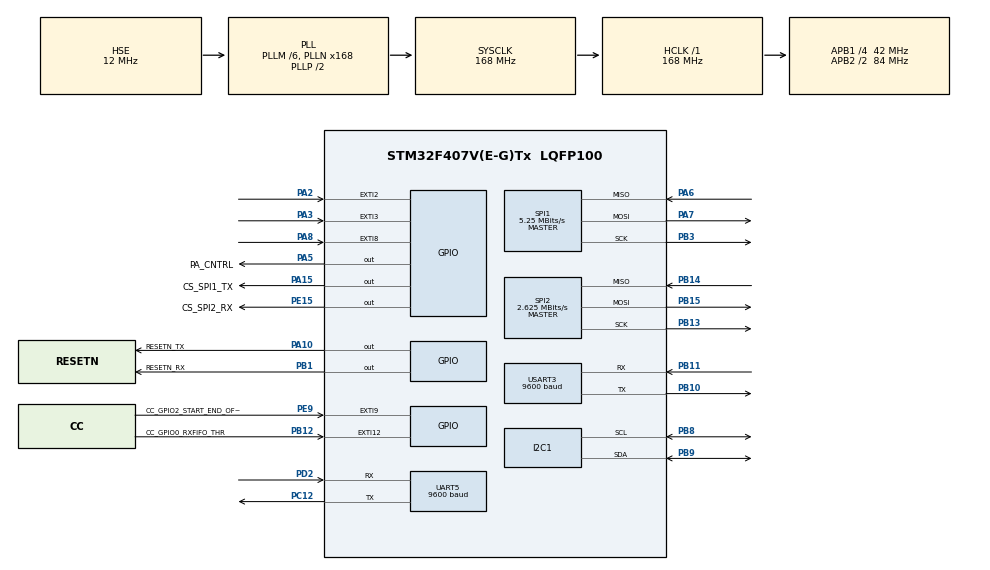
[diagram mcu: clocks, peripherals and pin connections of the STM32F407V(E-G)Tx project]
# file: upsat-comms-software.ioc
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ADC1.Channel-4\#ChannelRegularConversion=ADC_CHANNEL_TEMPSENSOR
ADC1.Channel-5\#ChannelRegularConversion=ADC_CHANNEL_TEMPSENSOR
ADC1.Channel-6\#ChannelRegularConversion=ADC_CHANNEL_TEMPSENSOR
ADC1.Channel-7\#ChannelRegularConversion=ADC_CHANNEL_TEMPSENSOR
ADC1.Channel-8\#ChannelRegularConversion=ADC_CHANNEL_TEMPSENSOR
ADC1.Channel-9\#ChannelRegularConversion=ADC_CHANNEL_TEMPSENSOR
ADC1.ClockPrescaler=ADC_CLOCK_SYNC_PCLK_DIV8
ADC1.ContinuousConvMode=ENABLE
ADC1.DMAContinuousRequests=ENABLE
ADC1.DataAlign=ADC_DATAALIGN_RIGHT
ADC1.DiscontinuousConvMode=DISABLE
ADC1.EOCSelection=ADC_EOC_SEQ_CONV
ADC1.EnableAnalogWatchDog=false
ADC1.ExternalTrigConvEdge=ADC_EXTERNALTRIGCONVEDGE_NONE
ADC1.InjNumberOfConversion=0
ADC1.NbrOfConversion=6
ADC1.NbrOfConversionFlag=1
ADC1.Rank-4\#ChannelRegularConversion=1
ADC1.Rank-5\#ChannelRegularConversion=2
ADC1.Rank-6\#ChannelRegularConversion=3
ADC1.Rank-7\#ChannelRegularConversion=4
ADC1.Rank-8\#ChannelRegularConversion=5
ADC1.Rank-9\#ChannelRegularConversion=6
ADC1.Resolution=ADC_RESOLUTION_12B
ADC1.SamplingTime-4\#ChannelRegularConversion=ADC_SAMPLETIME_480CYCLES
ADC1.SamplingTime-5\#ChannelRegularConversion=ADC_SAMPLETIME_480CYCLES
ADC1.SamplingTime-6\#ChannelRegularConversion=ADC_SAMPLETIME_480CYCLES
ADC1.SamplingTime-7\#ChannelRegularConversion=ADC_SAMPLETIME_480CYCLES
ADC1.SamplingTime-8\#ChannelRegularConversion=ADC_SAMPLETIME_480CYCLES
ADC1.SamplingTime-9\#ChannelRegularConversion=ADC_SAMPLETIME_480CYCLES
ADC1.ScanConvMode=ENABLE
ADC1.master=1
Dma.ADC1.3.Channel=DMA_CHANNEL_0
Dma.ADC1.3.Direction=DMA_PERIPH_TO_MEMORY
Dma.ADC1.3.FIFOMode=DMA_FIFOMODE_ENABLE
Dma.ADC1.3.FIFOThreshold=DMA_FIFO_THRESHOLD_FULL
Dma.ADC1.3.Instance=DMA2_Stream0
Dma.ADC1.3.MemBurst=DMA_MBURST_INC4
Dma.ADC1.3.MemDataAlignment=DMA_MDATAALIGN_WORD
Dma.ADC1.3.MemInc=DMA_MINC_ENABLE
Dma.ADC1.3.Mode=DMA_NORMAL
Dma.ADC1.3.PeriphBurst=DMA_PBURST_SINGLE
Dma.ADC1.3.PeriphDataAlignment=DMA_PDATAALIGN_WORD
Dma.ADC1.3.PeriphInc=DMA_PINC_DISABLE
Dma.ADC1.3.Priority=DMA_PRIORITY_LOW
Dma.Request0=UART5_TX
Dma.Request1=SPI2_RX
Dma.Request2=SPI1_TX
Dma.Request3=ADC1
Dma.SPI1_TX.2.Channel=DMA_CHANNEL_3
Dma.SPI1_TX.2.Direction=DMA_MEMORY_TO_PERIPH
Dma.SPI1_TX.2.FIFOMode=DMA_FIFOMODE_DISABLE
Dma.SPI1_TX.2.Instance=DMA2_Stream3
Dma.SPI1_TX.2.MemDataAlignment=DMA_MDATAALIGN_BYTE
Dma.SPI1_TX.2.MemInc=DMA_MINC_ENABLE
Dma.SPI1_TX.2.Mode=DMA_NORMAL
Dma.SPI1_TX.2.PeriphDataAlignment=DMA_PDATAALIGN_BYTE
Dma.SPI1_TX.2.PeriphInc=DMA_PINC_DISABLE
Dma.SPI1_TX.2.Priority=DMA_PRIORITY_LOW
Dma.SPI2_RX.1.Channel=DMA_CHANNEL_0
Dma.SPI2_RX.1.Direction=DMA_PERIPH_TO_MEMORY
Dma.SPI2_RX.1.FIFOMode=DMA_FIFOMODE_DISABLE
Dma.SPI2_RX.1.Instance=DMA1_Stream3
Dma.SPI2_RX.1.MemDataAlignment=DMA_MDATAALIGN_BYTE
Dma.SPI2_RX.1.MemInc=DMA_MINC_ENABLE
Dma.SPI2_RX.1.Mode=DMA_NORMAL
Dma.SPI2_RX.1.PeriphDataAlignment=DMA_PDATAALIGN_BYTE
Dma.SPI2_RX.1.PeriphInc=DMA_PINC_DISABLE
Dma.SPI2_RX.1.Priority=DMA_PRIORITY_LOW
Dma.UART5_TX.0.Channel=DMA_CHANNEL_4
Dma.UART5_TX.0.Direction=DMA_MEMORY_TO_PERIPH
Dma.UART5_TX.0.FIFOMode=DMA_FIFOMODE_DISABLE
Dma.UART5_TX.0.Instance=DMA1_Stream7
Dma.UART5_TX.0.MemDataAlignment=DMA_MDATAALIGN_BYTE
Dma.UART5_TX.0.MemInc=DMA_MINC_ENABLE
Dma.UART5_TX.0.Mode=DMA_NORMAL
Dma.UART5_TX.0.PeriphDataAlignment=DMA_PDATAALIGN_BYTE
Dma.UART5_TX.0.PeriphInc=DMA_PINC_DISABLE
Dma.UART5_TX.0.Priority=DMA_PRIORITY_LOW
IWDG.Prescaler=IWDG_PRESCALER_256
Mcu.Family=STM32F4
Mcu.Name=STM32F407V(E-G)Tx
Mcu.Package=LQFP100
NVIC.ADC_IRQn=true\:0\:0\:false\:false\:true
NVIC.DMA1_Stream3_IRQn=true\:0\:0\:false\:false\:true
NVIC.DMA1_Stream7_IRQn=true\:0\:0\:false\:false\:true
NVIC.DMA2_Stream0_IRQn=true\:0\:0\:false\:false\:true
NVIC.DMA2_Stream3_IRQn=true\:0\:0\:false\:false\:true
NVIC.EXTI15_10_IRQn=true\:0\:0\:false\:false\:true
NVIC.EXTI2_IRQn=true\:0\:0\:false\:false\:true
NVIC.EXTI3_IRQn=true\:0\:0\:false\:false\:true
NVIC.EXTI9_5_IRQn=true\:0\:0\:false\:false\:true
NVIC.PriorityGroup=NVIC_PRIORITYGROUP_4
NVIC.UART5_IRQn=true\:0\:0\:false\:false\:true
PA10.GPIO_Label=RESETN_TX
PA10.PinState=GPIO_PIN_SET
PA10.Signal=GPIO_Output
PA15.GPIO_Label=CS_SPI1_TX
PA15.PinState=GPIO_PIN_SET
PA15.Signal=GPIO_Output
PA2.GPIO_ModeDefaultEXTI=GPIO_MODE_IT_FALLING
PA2.Signal=GPXTI2
PA3.GPIO_ModeDefaultEXTI=GPIO_MODE_IT_FALLING
PA3.Signal=GPXTI3
PA5.GPIO_Label=PA_CNTRL
PA5.Signal=GPIO_Output
PA6.GPIO_Speed=GPIO_SPEED_FREQ_LOW
PA6.Mode=Full_Duplex_Master
PA6.Signal=SPI1_MISO
PA7.GPIO_Speed=GPIO_SPEED_FREQ_LOW
PA7.Mode=Full_Duplex_Master
PA7.Signal=SPI1_MOSI
PA8.Signal=GPXTI8
PB1.GPIO_Label=RESETN_RX
PB1.PinState=GPIO_PIN_SET
PB1.Signal=GPIO_Output
PB10.Mode=Asynchronous
PB10.Signal=USART3_TX
PB11.Mode=Asynchronous
PB11.Signal=USART3_RX
PB12.GPIO_Label=CC_GPIO0_RXFIFO_THR
PB12.GPIO_ModeDefaultEXTI=GPIO_MODE_IT_RISING
PB12.Signal=GPXTI12
PB13.GPIO_Speed=GPIO_SPEED_FREQ_LOW
PB13.Mode=Full_Duplex_Master
PB13.Signal=SPI2_SCK
PB14.GPIO_Speed=GPIO_SPEED_FREQ_LOW
PB14.Mode=Full_Duplex_Master
PB14.Signal=SPI2_MISO
PB15.GPIO_Speed=GPIO_SPEED_FREQ_LOW
PB15.Mode=Full_Duplex_Master
PB15.Signal=SPI2_MOSI
PB3.GPIO_Speed=GPIO_SPEED_FREQ_LOW
PB3.Mode=Full_Duplex_Master
PB3.Signal=SPI1_SCK
PB8.Mode=I2C
PB8.Signal=I2C1_SCL
PB9.Mode=I2C
PB9.Signal=I2C1_SDA
PC12.Mode=Asynchronous
PC12.Signal=UART5_TX
PD2.Mode=Asynchronous
PD2.Signal=UART5_RX
PE15.GPIO_Label=CS_SPI2_RX
PE15.PinState=GPIO_PIN_SET
PE15.Signal=GPIO_Output
PE9.GPIO_Label=CC_GPIO2_START_END_OF_PACKET
PE9.GPIO_ModeDefaultEXTI=GPIO_MODE_IT_RISING_FALLING
PE9.Signal=GPXTI9
PH0-OSC_IN.Mode=HSE-External-Oscillator
PH0-OSC_IN.Signal=RCC_OSC_IN
PH1-OSC_OUT.Mode=HSE-External-Oscillator
PH1-OSC_OUT.Signal=RCC_OSC_OUT
ProjectManager.HeapSize=0x200
ProjectManager.StackSize=0x400
ProjectManager.TargetToolchain=SW4STM32
RCC.48MHZClocksFreq_Value=84000000
RCC.AHBFreq_Value=168000000
RCC.APB1CLKDivider=RCC_HCLK_DIV4
RCC.APB1Freq_Value=42000000
RCC.APB1TimFreq_Value=84000000
RCC.APB2CLKDivider=RCC_HCLK_DIV2
RCC.APB2Freq_Value=84000000
RCC.APB2TimFreq_Value=168000000
RCC.CortexFreq_Value=168000000
RCC.HCLKFreq_Value=168000000
RCC.HSE_VALUE=12000000
RCC.HSI_VALUE=16000000
RCC.LSE_VALUE=32768
RCC.PLLM=6
RCC.PLLN=168
RCC.PLLSourceVirtual=RCC_PLLSOURCE_HSE
RCC.SYSCLKFreq_VALUE=168000000
RCC.SYSCLKSource=RCC_SYSCLKSOURCE_PLLCLK
RCC.VCOOutputFreq_Value=336000000
SPI1.BaudRatePrescaler=SPI_BAUDRATEPRESCALER_16
SPI1.CalculateBaudRate=5.25 MBits/s
SPI1.Mode=SPI_MODE_MASTER
SPI2.BaudRatePrescaler=SPI_BAUDRATEPRESCALER_16
SPI2.CalculateBaudRate=2.625 MBits/s
SPI2.Mode=SPI_MODE_MASTER
UART5.BaudRate=9600
USART3.BaudRate=9600
VP_ADC1_TempSens_Input.Mode=IN-TempSens
VP_ADC1_Vref_Input.Mode=IN-Vrefint
VP_IWDG_VS_IWDG.Mode=IWDG_Activate
board=upsat-comms-software

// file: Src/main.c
/**
  ******************************************************************************
  * File Name          : main.c
  * Description        : Main program body
  ******************************************************************************
  *
  * COPYRIGHT(c) 2016 STMicroelectronics
  *
  * Redistribution and use in source and binary forms, with or without modification,
  * are permitted provided that the following conditions are met:
  *   1. Redistributions of source code must retain the above copyright notice,
  *      this list of conditions and the following disclaimer.
  *   2. Redistributions in binary form must reproduce the above copyright notice,
  *      this list of conditions and the following disclaimer in the documentation
  *      and/or other materials provided with the distribution.
  *   3. Neither the name of STMicroelectronics nor the names of its contributors
  *      may be used to endorse or promote products derived from this software
  *      without specific prior written permission.
  *
  * THIS SOFTWARE IS PROVIDED BY THE COPYRIGHT HOLDERS AND CONTRIBUTORS "AS IS"
  * AND ANY EXPRESS OR IMPLIED WARRANTIES, INCLUDING, BUT NOT LIMITED TO, THE
  * IMPLIED WARRANTIES OF MERCHANTABILITY AND FITNESS FOR A PARTICULAR PURPOSE ARE
  * DISCLAIMED. IN NO EVENT SHALL THE COPYRIGHT HOLDER OR CONTRIBUTORS BE LIABLE
  * FOR ANY DIRECT, INDIRECT, INCIDENTAL, SPECIAL, EXEMPLARY, OR CONSEQUENTIAL
  * DAMAGES (INCLUDING, BUT NOT LIMITED TO, PROCUREMENT OF SUBSTITUTE GOODS OR
  * SERVICES; LOSS OF USE, DATA, OR PROFITS; OR BUSINESS INTERRUPTION) HOWEVER
  * CAUSED AND ON ANY THEORY OF LIABILITY, WHETHER IN CONTRACT, STRICT LIABILITY,
  * OR TORT (INCLUDING NEGLIGENCE OR OTHERWISE) ARISING IN ANY WAY OUT OF THE USE
  * OF THIS SOFTWARE, EVEN IF ADVISED OF THE POSSIBILITY OF SUCH DAMAGE.
  *
  ******************************************************************************
  */
#include "stm32f4xx_hal.h"

/* USER CODE BEGIN Includes */
#include "cc_commands.h"
#include "cc_definitions.h"
#include "ax25.h"
#include "log.h"
#include "cc112x_spi.h"
#include "cc_tx_init.h"
#include "cc_rx_init.h"
#include <string.h>
#include "comms.h"
#include "pkt_pool.h"
#include "service_utilities.h"
#include "comms_manager.h"
#include "sensors.h"
#include "stats.h"
#include "sysview.h"
#include "sha256.h"
#include "persistent_mem.h"
/* USER CODE END Includes */

ADC_HandleTypeDef hadc1;
DMA_HandleTypeDef hdma_adc1;

I2C_HandleTypeDef hi2c1;

IWDG_HandleTypeDef hiwdg;

SPI_HandleTypeDef hspi1;
SPI_HandleTypeDef hspi2;
DMA_HandleTypeDef hdma_spi1_tx;
DMA_HandleTypeDef hdma_spi2_rx;

UART_HandleTypeDef huart5;
UART_HandleTypeDef huart3;
DMA_HandleTypeDef hdma_uart5_tx;

/* USER CODE BEGIN PV */
/* Private variables ---------------------------------------------------------*/
uint8_t res;
uint16_t size = 0;

volatile uint8_t tx_thr_flag = 0;
volatile uint8_t tx_fin_flag = 0;
volatile uint8_t rx_sync_flag = 0;
volatile uint8_t rx_finished_flag = 0;
volatile uint8_t rx_thr_flag = 0;

uint8_t uart_temp[512];
uint8_t debug_temp[256];

extern comms_rf_stat_t comms_stats;
/* USER CODE END PV */

void SystemClock_Config(void);
static void MX_GPIO_Init(void);
static void MX_DMA_Init(void);
static void MX_I2C1_Init(void);
static void MX_SPI1_Init(void);
static void MX_SPI2_Init(void);
static void MX_UART5_Init(void);
static void MX_USART3_UART_Init(void);
static void MX_IWDG_Init(void);
static void MX_ADC1_Init(void);

/* USER CODE BEGIN PFP */
/* Private function prototypes -----------------------------------------------*/

/* USER CODE END PFP */

int main(void)
{

  /* USER CODE BEGIN 1 */
  uint8_t rst_src;
  uint32_t tick;
  uint32_t heartbeat_tick;
  comms_tx_job_list_t tx_jobs;
  uint32_t now;
  uint32_t tx_job_cnt = 0;
  uint32_t tx_job_desc = __COMMS_DEFAULT_HEADLESS_TX_PATTERN;
  /* USER CODE END 1 */

  /* MCU Configuration----------------------------------------------------------*/

  /* Reset of all peripherals, Initializes the Flash interface and the Systick. */
  HAL_Init();

  /* Wait for the EPS to settle */
  HAL_Delay(1000);

  /* Configure the system clock */
  SystemClock_Config();

  /* Initialize all configured peripherals */
  MX_GPIO_Init();
  MX_DMA_Init();
  MX_I2C1_Init();
  MX_SPI1_Init();
  MX_SPI2_Init();
  MX_UART5_Init();
  MX_USART3_UART_Init();
  MX_IWDG_Init();
  MX_ADC1_Init();

  /* USER CODE BEGIN 2 */

  /* TX Pins RESETN_TX, PA_CTRL_PIN, CSN1 */
  HAL_GPIO_WritePin (GPIOA, RESETN_TX_Pin, GPIO_PIN_SET);
  HAL_GPIO_WritePin (PA_CNTRL_GPIO_Port, PA_CNTRL_Pin, GPIO_PIN_SET);
  HAL_GPIO_WritePin (GPIOA, GPIO_PIN_15, GPIO_PIN_SET);

  /* RX Pins RESETN_RX, CSN2 */
  HAL_GPIO_WritePin (GPIOB, GPIO_PIN_1, GPIO_PIN_SET);
  HAL_GPIO_WritePin (GPIOE, GPIO_PIN_15, GPIO_PIN_SET);

  /*Start the watchdog ASAP */
  HAL_IWDG_Start(&hiwdg);

  /*Must use this in order the compiler occupies flash sector 3*/
  comms_persistent_mem_init();

  /* Initialize the systemview */
  SEGGER_SYSVIEW_Conf();
  sysview_init();

  /*Make all the proper initializations for the COMMS */
  comms_init();

  /* UART initializations */
  HAL_UART_Receive_IT (&huart5, comms_data.obc_uart.uart_buf, UART_BUF_SIZE);

  /* Get the reason of re-booting */
  HAL_reset_source(&rst_src);
  comms_rf_stats_set_reset_src(&comms_stats, rst_src);
  /* USER CODE END 2 */

  /* Infinite loop */
  /* USER CODE BEGIN WHILE */

  tick = HAL_GetTick();
  heartbeat_tick = tick;
  memset((void *)&tx_jobs, 0, sizeof(comms_tx_job_list_t));
  while (1) {
    now = HAL_GetTick();
    /* Sent a heartbeat message to the EPS*/
    if(now < heartbeat_tick
	|| now - heartbeat_tick > __HEARTBEAT_EPS_INTERVAL_MS){
      heartbeat_tick = now;
      SYSVIEW_PRINT("HEARTBEAT to EPS");
      sys_refresh();
    }

    if(now - tick > __TX_INTERVAL_MS){
      /*
       * Check which type of TX job should be performed. At this time any
       * previous unfinished TX jobs are dropped.
       */
      memset((void *)&tx_jobs, 0, sizeof(comms_tx_job_list_t));
      tick = now;

      /* Zero ID always refer to CW beacon */
      if(tx_job_cnt == 0)
      {
	/* Should be reset from comms_routine_dispatcher() when served */
    	  tx_jobs.tx_cw = 1;
      }
      else
      {
	/*An active bit means ex_WOD whereas an inactive a WOD */
    	 if((tx_job_desc >> tx_job_cnt) & 0x1)
    	  {
    		  tx_jobs.tx_ext_wod = 1;
    	  }
    	 else
    	 {
    		 tx_jobs.tx_wod = 1;
    	 }
      }

      tx_job_cnt++;
      tx_job_cnt = tx_job_cnt % 8;
      /*
       * Now it's a good time to re-read the flash, in case the
       * headless transmission scheme altered
       */
      tx_job_desc = comms_read_persistent_word(__COMMS_HEADLESS_TX_FLASH_OFFSET);

      /*
       * In case the ex_WOD number is greater than the WOD, shit happened.
       * So fall back to the default
       */
      if(bit_count(tx_job_desc) > 4){
    	  tx_job_desc = __COMMS_DEFAULT_HEADLESS_TX_PATTERN;
      }
    }

    comms_routine_dispatcher(&tx_jobs);

  /* USER CODE END WHILE */

  }

}

/** System Clock Configuration
*/
void SystemClock_Config(void)
{

  RCC_OscInitTypeDef RCC_OscInitStruct;
  RCC_ClkInitTypeDef RCC_ClkInitStruct;

  __HAL_RCC_PWR_CLK_ENABLE();

  __HAL_PWR_VOLTAGESCALING_CONFIG(PWR_REGULATOR_VOLTAGE_SCALE1);

  RCC_OscInitStruct.OscillatorType = RCC_OSCILLATORTYPE_LSI|RCC_OSCILLATORTYPE_HSE;
  RCC_OscInitStruct.HSEState = RCC_HSE_ON;
  RCC_OscInitStruct.LSIState = RCC_LSI_ON;
  RCC_OscInitStruct.PLL.PLLState = RCC_PLL_ON;
  RCC_OscInitStruct.PLL.PLLSource = RCC_PLLSOURCE_HSE;
  RCC_OscInitStruct.PLL.PLLM = 6;
  RCC_OscInitStruct.PLL.PLLN = 168;
  RCC_OscInitStruct.PLL.PLLP = RCC_PLLP_DIV2;
  RCC_OscInitStruct.PLL.PLLQ = 4;
  HAL_RCC_OscConfig(&RCC_OscInitStruct);

  RCC_ClkInitStruct.ClockType = RCC_CLOCKTYPE_HCLK|RCC_CLOCKTYPE_SYSCLK
                              |RCC_CLOCKTYPE_PCLK1|RCC_CLOCKTYPE_PCLK2;
  RCC_ClkInitStruct.SYSCLKSource = RCC_SYSCLKSOURCE_PLLCLK;
  RCC_ClkInitStruct.AHBCLKDivider = RCC_SYSCLK_DIV1;
  RCC_ClkInitStruct.APB1CLKDivider = RCC_HCLK_DIV4;
  RCC_ClkInitStruct.APB2CLKDivider = RCC_HCLK_DIV2;
  HAL_RCC_ClockConfig(&RCC_ClkInitStruct, FLASH_LATENCY_5);

  HAL_SYSTICK_Config(HAL_RCC_GetHCLKFreq()/1000);

  HAL_SYSTICK_CLKSourceConfig(SYSTICK_CLKSOURCE_HCLK);

  /* SysTick_IRQn interrupt configuration */
  HAL_NVIC_SetPriority(SysTick_IRQn, 0, 0);
}

/* ADC1 init function */
void MX_ADC1_Init(void)
{

  ADC_ChannelConfTypeDef sConfig;

    /**Configure the global features of the ADC (Clock, Resolution, Data Alignment and number of conversion)
    */
  hadc1.Instance = ADC1;
  hadc1.Init.ClockPrescaler = ADC_CLOCK_SYNC_PCLK_DIV8;
  hadc1.Init.Resolution = ADC_RESOLUTION_12B;
  hadc1.Init.ScanConvMode = ENABLE;
  hadc1.Init.ContinuousConvMode = ENABLE;
  hadc1.Init.DiscontinuousConvMode = DISABLE;
  hadc1.Init.ExternalTrigConvEdge = ADC_EXTERNALTRIGCONVEDGE_NONE;
  hadc1.Init.DataAlign = ADC_DATAALIGN_RIGHT;
  hadc1.Init.NbrOfConversion = 6;
  hadc1.Init.DMAContinuousRequests = ENABLE;
  hadc1.Init.EOCSelection = ADC_EOC_SEQ_CONV;
  HAL_ADC_Init(&hadc1);

    /**Configure for the selected ADC regular channel its corresponding rank in the sequencer and its sample time.
    */
  sConfig.Channel = ADC_CHANNEL_TEMPSENSOR;
  sConfig.Rank = 1;
  sConfig.SamplingTime = ADC_SAMPLETIME_480CYCLES;
  HAL_ADC_ConfigChannel(&hadc1, &sConfig);

    /**Configure for the selected ADC regular channel its corresponding rank in the sequencer and its sample time.
    */
  sConfig.Rank = 2;
  HAL_ADC_ConfigChannel(&hadc1, &sConfig);

    /**Configure for the selected ADC regular channel its corresponding rank in the sequencer and its sample time.
    */
  sConfig.Rank = 3;
  HAL_ADC_ConfigChannel(&hadc1, &sConfig);

    /**Configure for the selected ADC regular channel its corresponding rank in the sequencer and its sample time.
    */
  sConfig.Rank = 4;
  HAL_ADC_ConfigChannel(&hadc1, &sConfig);

    /**Configure for the selected ADC regular channel its corresponding rank in the sequencer and its sample time.
    */
  sConfig.Rank = 5;
  HAL_ADC_ConfigChannel(&hadc1, &sConfig);

    /**Configure for the selected ADC regular channel its corresponding rank in the sequencer and its sample time.
    */
  sConfig.Rank = 6;
  HAL_ADC_ConfigChannel(&hadc1, &sConfig);

}

/* I2C1 init function */
void MX_I2C1_Init(void)
{

  hi2c1.Instance = I2C1;
  hi2c1.Init.ClockSpeed = 100000;
  hi2c1.Init.DutyCycle = I2C_DUTYCYCLE_2;
  hi2c1.Init.OwnAddress1 = 0;
  hi2c1.Init.AddressingMode = I2C_ADDRESSINGMODE_7BIT;
  hi2c1.Init.DualAddressMode = I2C_DUALADDRESS_DISABLE;
  hi2c1.Init.OwnAddress2 = 0;
  hi2c1.Init.GeneralCallMode = I2C_GENERALCALL_DISABLE;
  hi2c1.Init.NoStretchMode = I2C_NOSTRETCH_DISABLE;
  HAL_I2C_Init(&hi2c1);

}

/* IWDG init function */
void MX_IWDG_Init(void)
{

  hiwdg.Instance = IWDG;
  hiwdg.Init.Prescaler = IWDG_PRESCALER_256;
  hiwdg.Init.Reload = 4095;
  HAL_IWDG_Init(&hiwdg);

}

/* SPI1 init function */
void MX_SPI1_Init(void)
{

  hspi1.Instance = SPI1;
  hspi1.Init.Mode = SPI_MODE_MASTER;
  hspi1.Init.Direction = SPI_DIRECTION_2LINES;
  hspi1.Init.DataSize = SPI_DATASIZE_8BIT;
  hspi1.Init.CLKPolarity = SPI_POLARITY_LOW;
  hspi1.Init.CLKPhase = SPI_PHASE_1EDGE;
  hspi1.Init.NSS = SPI_NSS_SOFT;
  hspi1.Init.BaudRatePrescaler = SPI_BAUDRATEPRESCALER_16;
  hspi1.Init.FirstBit = SPI_FIRSTBIT_MSB;
  hspi1.Init.TIMode = SPI_TIMODE_DISABLE;
  hspi1.Init.CRCCalculation = SPI_CRCCALCULATION_DISABLE;
  hspi1.Init.CRCPolynomial = 10;
  HAL_SPI_Init(&hspi1);

}

/* SPI2 init function */
void MX_SPI2_Init(void)
{

  hspi2.Instance = SPI2;
  hspi2.Init.Mode = SPI_MODE_MASTER;
  hspi2.Init.Direction = SPI_DIRECTION_2LINES;
  hspi2.Init.DataSize = SPI_DATASIZE_8BIT;
  hspi2.Init.CLKPolarity = SPI_POLARITY_LOW;
  hspi2.Init.CLKPhase = SPI_PHASE_1EDGE;
  hspi2.Init.NSS = SPI_NSS_SOFT;
  hspi2.Init.BaudRatePrescaler = SPI_BAUDRATEPRESCALER_16;
  hspi2.Init.FirstBit = SPI_FIRSTBIT_MSB;
  hspi2.Init.TIMode = SPI_TIMODE_DISABLE;
  hspi2.Init.CRCCalculation = SPI_CRCCALCULATION_DISABLE;
  hspi2.Init.CRCPolynomial = 10;
  HAL_SPI_Init(&hspi2);

}

/* UART5 init function */
void MX_UART5_Init(void)
{

  huart5.Instance = UART5;
  huart5.Init.BaudRate = 9600;
  huart5.Init.WordLength = UART_WORDLENGTH_8B;
  huart5.Init.StopBits = UART_STOPBITS_1;
  huart5.Init.Parity = UART_PARITY_NONE;
  huart5.Init.Mode = UART_MODE_TX_RX;
  huart5.Init.HwFlowCtl = UART_HWCONTROL_NONE;
  huart5.Init.OverSampling = UART_OVERSAMPLING_16;
  HAL_UART_Init(&huart5);

}

/* USART3 init function */
void MX_USART3_UART_Init(void)
{

  huart3.Instance = USART3;
  huart3.Init.BaudRate = 9600;
  huart3.Init.WordLength = UART_WORDLENGTH_8B;
  huart3.Init.StopBits = UART_STOPBITS_1;
  huart3.Init.Parity = UART_PARITY_NONE;
  huart3.Init.Mode = UART_MODE_TX_RX;
  huart3.Init.HwFlowCtl = UART_HWCONTROL_NONE;
  huart3.Init.OverSampling = UART_OVERSAMPLING_16;
  HAL_UART_Init(&huart3);

}

void MX_DMA_Init(void)
{
  /* DMA controller clock enable */
  __HAL_RCC_DMA1_CLK_ENABLE();
  __HAL_RCC_DMA2_CLK_ENABLE();

  /* DMA interrupt init */
  /* DMA1_Stream3_IRQn interrupt configuration */
  HAL_NVIC_SetPriority(DMA1_Stream3_IRQn, 0, 0);
  HAL_NVIC_EnableIRQ(DMA1_Stream3_IRQn);
  /* DMA1_Stream7_IRQn interrupt configuration */
  HAL_NVIC_SetPriority(DMA1_Stream7_IRQn, 0, 0);
  HAL_NVIC_EnableIRQ(DMA1_Stream7_IRQn);
  /* DMA2_Stream0_IRQn interrupt configuration */
  HAL_NVIC_SetPriority(DMA2_Stream0_IRQn, 0, 0);
  HAL_NVIC_EnableIRQ(DMA2_Stream0_IRQn);
  /* DMA2_Stream3_IRQn interrupt configuration */
  HAL_NVIC_SetPriority(DMA2_Stream3_IRQn, 0, 0);
  HAL_NVIC_EnableIRQ(DMA2_Stream3_IRQn);

}

/** Configure pins as
        * Analog
        * Input
        * Output
        * EVENT_OUT
        * EXTI
*/
void MX_GPIO_Init(void)
{

  GPIO_InitTypeDef GPIO_InitStruct;

  /* GPIO Ports Clock Enable */
  __HAL_RCC_GPIOH_CLK_ENABLE();
  __HAL_RCC_GPIOA_CLK_ENABLE();
  __HAL_RCC_GPIOB_CLK_ENABLE();
  __HAL_RCC_GPIOE_CLK_ENABLE();
  __HAL_RCC_GPIOC_CLK_ENABLE();
  __HAL_RCC_GPIOD_CLK_ENABLE();

  /*Configure GPIO pins : PA2 PA3 */
  GPIO_InitStruct.Pin = GPIO_PIN_2|GPIO_PIN_3;
  GPIO_InitStruct.Mode = GPIO_MODE_IT_FALLING;
  GPIO_InitStruct.Pull = GPIO_NOPULL;
  HAL_GPIO_Init(GPIOA, &GPIO_InitStruct);

  /*Configure GPIO pins : PA_CNTRL_Pin RESETN_TX_Pin CS_SPI1_TX_Pin */
  GPIO_InitStruct.Pin = PA_CNTRL_Pin|RESETN_TX_Pin|CS_SPI1_TX_Pin;
  GPIO_InitStruct.Mode = GPIO_MODE_OUTPUT_PP;
  GPIO_InitStruct.Pull = GPIO_NOPULL;
  GPIO_InitStruct.Speed = GPIO_SPEED_FREQ_LOW;
  HAL_GPIO_Init(GPIOA, &GPIO_InitStruct);

  /*Configure GPIO pin : RESETN_RX_Pin */
  GPIO_InitStruct.Pin = RESETN_RX_Pin;
  GPIO_InitStruct.Mode = GPIO_MODE_OUTPUT_PP;
  GPIO_InitStruct.Pull = GPIO_NOPULL;
  GPIO_InitStruct.Speed = GPIO_SPEED_FREQ_LOW;
  HAL_GPIO_Init(RESETN_RX_GPIO_Port, &GPIO_InitStruct);

  /*Configure GPIO pin : CC_GPIO2_START_END_OF_PACKET_Pin */
  GPIO_InitStruct.Pin = CC_GPIO2_START_END_OF_PACKET_Pin;
  GPIO_InitStruct.Mode = GPIO_MODE_IT_RISING_FALLING;
  GPIO_InitStruct.Pull = GPIO_NOPULL;
  HAL_GPIO_Init(CC_GPIO2_START_END_OF_PACKET_GPIO_Port, &GPIO_InitStruct);

  /*Configure GPIO pin : CS_SPI2_RX_Pin */
  GPIO_InitStruct.Pin = CS_SPI2_RX_Pin;
  GPIO_InitStruct.Mode = GPIO_MODE_OUTPUT_PP;
  GPIO_InitStruct.Pull = GPIO_NOPULL;
  GPIO_InitStruct.Speed = GPIO_SPEED_FREQ_LOW;
  HAL_GPIO_Init(CS_SPI2_RX_GPIO_Port, &GPIO_InitStruct);

  /*Configure GPIO pin : CC_GPIO0_RXFIFO_THR_Pin */
  GPIO_InitStruct.Pin = CC_GPIO0_RXFIFO_THR_Pin;
  GPIO_InitStruct.Mode = GPIO_MODE_IT_RISING;
  GPIO_InitStruct.Pull = GPIO_NOPULL;
  HAL_GPIO_Init(CC_GPIO0_RXFIFO_THR_GPIO_Port, &GPIO_InitStruct);

  /*Configure GPIO pin : PA8 */
  GPIO_InitStruct.Pin = GPIO_PIN_8;
  GPIO_InitStruct.Mode = GPIO_MODE_IT_RISING;
  GPIO_InitStruct.Pull = GPIO_NOPULL;
  HAL_GPIO_Init(GPIOA, &GPIO_InitStruct);

  /*Configure GPIO pin Output Level */
  HAL_GPIO_WritePin(PA_CNTRL_GPIO_Port, PA_CNTRL_Pin, GPIO_PIN_RESET);

  /*Configure GPIO pin Output Level */
  HAL_GPIO_WritePin(RESETN_RX_GPIO_Port, RESETN_RX_Pin, GPIO_PIN_SET);

  /*Configure GPIO pin Output Level */
  HAL_GPIO_WritePin(CS_SPI2_RX_GPIO_Port, CS_SPI2_RX_Pin, GPIO_PIN_SET);

  /*Configure GPIO pin Output Level */
  HAL_GPIO_WritePin(GPIOA, RESETN_TX_Pin|CS_SPI1_TX_Pin, GPIO_PIN_SET);

  /* EXTI interrupt init*/
  HAL_NVIC_SetPriority(EXTI2_IRQn, 0, 0);
  HAL_NVIC_EnableIRQ(EXTI2_IRQn);

  HAL_NVIC_SetPriority(EXTI3_IRQn, 0, 0);
  HAL_NVIC_EnableIRQ(EXTI3_IRQn);

  HAL_NVIC_SetPriority(EXTI9_5_IRQn, 0, 0);
  HAL_NVIC_EnableIRQ(EXTI9_5_IRQn);

  HAL_NVIC_SetPriority(EXTI15_10_IRQn, 0, 0);
  HAL_NVIC_EnableIRQ(EXTI15_10_IRQn);

}

/* USER CODE BEGIN 4 */
void
HAL_GPIO_EXTI_Callback (uint16_t GPIO_Pin)
{
  GPIO_PinState state;
  switch(GPIO_Pin){
    case GPIO_PIN_3:
      tx_thr_flag = 1;
      break;
    case GPIO_PIN_2:
      tx_fin_flag = 1;
      break;
    case CC_GPIO2_START_END_OF_PACKET_Pin:
      state = HAL_GPIO_ReadPin (CC_GPIO2_START_END_OF_PACKET_GPIO_Port,
				CC_GPIO2_START_END_OF_PACKET_Pin);
      if(state){
	rx_sync_flag = 1;
      }
      else {
	rx_finished_flag = 1;
      }
      break;
    case CC_GPIO0_RXFIFO_THR_Pin:
      rx_thr_flag = 1;
      break;
  }
}
/* USER CODE END 4 */
